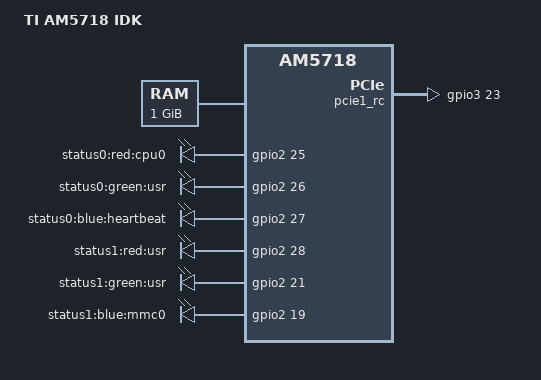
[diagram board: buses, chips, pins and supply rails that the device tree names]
// SPDX-License-Identifier: GPL-2.0-only
/*
 * Copyright (C) 2015-2016 Texas Instruments Incorporated - https://www.ti.com/
 */
/dts-v1/;

#include "dra72x.dtsi"
#include <dt-bindings/gpio/gpio.h>
#include <dt-bindings/interrupt-controller/irq.h>
#include "am57xx-idk-common.dtsi"
#include "dra7-mmc-iodelay.dtsi"
#include "dra72x-mmc-iodelay.dtsi"

/ {
	model = "TI AM5718 IDK";
	compatible = "ti,am5718-idk", "ti,am5718", "ti,dra7";

	memory@80000000 {
		device_type = "memory";
		reg = <0x0 0x80000000 0x0 0x40000000>;
	};

	leds {
		compatible = "gpio-leds";
		cpu0-led {
			label = "status0:red:cpu0";
			gpios = <&gpio2 25 GPIO_ACTIVE_HIGH>;
			default-state = "off";
			linux,default-trigger = "cpu0";
		};

		usr0-led {
			label = "status0:green:usr";
			gpios = <&gpio2 26 GPIO_ACTIVE_HIGH>;
			default-state = "off";
		};

		heartbeat-led {
			label = "status0:blue:heartbeat";
			gpios = <&gpio2 27 GPIO_ACTIVE_HIGH>;
			default-state = "off";
			linux,default-trigger = "heartbeat";
		};

		usr1-led {
			label = "status1:red:usr";
			gpios = <&gpio2 28 GPIO_ACTIVE_HIGH>;
			default-state = "off";
		};

		usr2-led {
			label = "status1:green:usr";
			gpios = <&gpio2 21 GPIO_ACTIVE_HIGH>;
			default-state = "off";
		};

		mmc0-led {
			label = "status1:blue:mmc0";
			gpios = <&gpio2 19 GPIO_ACTIVE_HIGH>;
			default-state = "off";
			linux,default-trigger = "mmc0";
		};
	};
};

&omap_dwc3_2 {
	extcon = <&extcon_usb2>;
};

&extcon_usb2 {
	id-gpio = <&gpio5 7 GPIO_ACTIVE_HIGH>;
	vbus-gpio = <&gpio7 22 GPIO_ACTIVE_HIGH>;
};

&mailbox5 {
	status = "okay";
	mbox_ipu1_ipc3x: mbox-ipu1-ipc3x {
		status = "okay";
	};
	mbox_dsp1_ipc3x: mbox-dsp1-ipc3x {
		status = "okay";
	};
};

&mailbox6 {
	status = "okay";
	mbox_ipu2_ipc3x: mbox-ipu2-ipc3x {
		status = "okay";
	};
};

&pcie1_rc {
	status = "okay";
	gpios = <&gpio3 23 GPIO_ACTIVE_HIGH>;
};

&pcie1_ep {
	gpios = <&gpio3 23 GPIO_ACTIVE_HIGH>;
};

&mmc1 {
	pinctrl-names = "default", "hs";
	pinctrl-0 = <&mmc1_pins_default_no_clk_pu>;
	pinctrl-1 = <&mmc1_pins_hs>;
};

&mmc2 {
	pinctrl-names = "default", "hs", "ddr_1_8v";
	pinctrl-0 = <&mmc2_pins_default>;
	pinctrl-1 = <&mmc2_pins_hs>;
	pinctrl-2 = <&mmc2_pins_ddr_rev20 &mmc2_iodelay_ddr_conf>;
};
